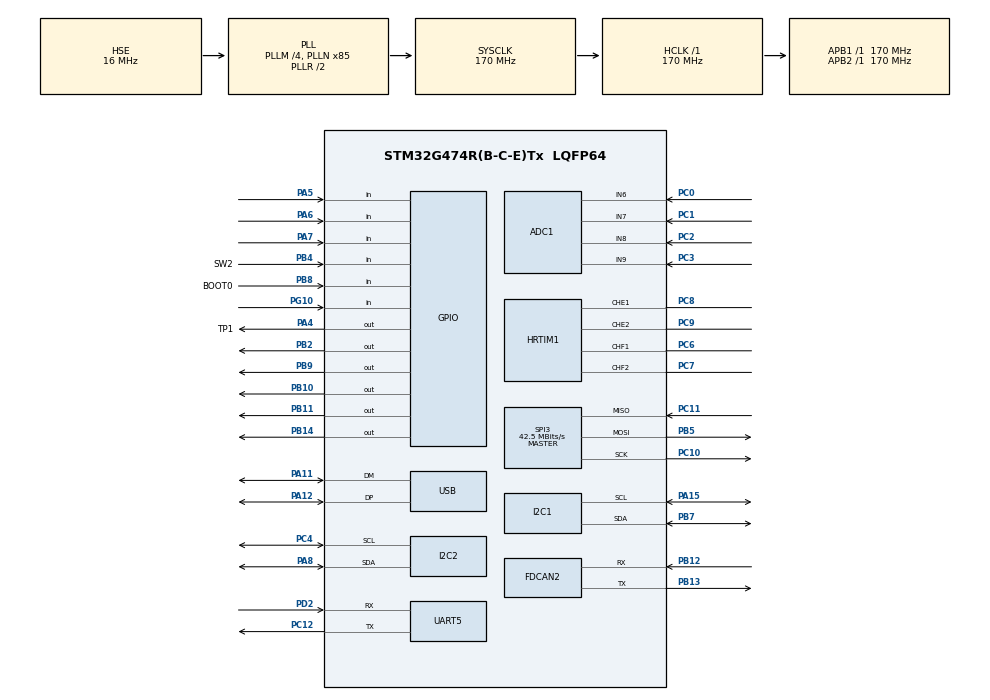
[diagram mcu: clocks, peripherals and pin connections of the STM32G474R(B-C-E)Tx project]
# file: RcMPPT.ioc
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ADC1.ClockPrescaler=ADC_CLOCK_SYNC_PCLK_DIV4
ADC1.DataAlign=ADC_DATAALIGN_RIGHT
ADC1.DiscontinuousConvMode=DISABLE
ADC1.EOCSelection=ADC_EOC_SEQ_CONV
ADC1.EnableAnalogWatchDog1=false
ADC1.EnableInjectedConversion=ENABLE
ADC1.EnableInjectedOversampling=ENABLE
ADC1.EnableRegularConversion=DISABLE
ADC1.ExternalTrigInjecConv=ADC_EXTERNALTRIGINJEC_HRTIM_TRG2
ADC1.InjNumberOfConversion=4
ADC1.InjOversamplingRatio=ADC_OVERSAMPLING_RATIO_16
ADC1.InjOversamplingRightShift=ADC_RIGHTBITSHIFT_NONE
ADC1.InjectedChannel-1\#ChannelInjectedConversion=ADC_CHANNEL_6
ADC1.InjectedChannel-2\#ChannelInjectedConversion=ADC_CHANNEL_8
ADC1.InjectedChannel-3\#ChannelInjectedConversion=ADC_CHANNEL_7
ADC1.InjectedChannel-4\#ChannelInjectedConversion=ADC_CHANNEL_9
ADC1.InjectedConvMode=None
ADC1.InjectedOffsetNumber-1\#ChannelInjectedConversion=ADC_OFFSET_NONE
ADC1.InjectedOffsetNumber-2\#ChannelInjectedConversion=ADC_OFFSET_NONE
ADC1.InjectedOffsetNumber-3\#ChannelInjectedConversion=ADC_OFFSET_NONE
ADC1.InjectedOffsetNumber-4\#ChannelInjectedConversion=ADC_OFFSET_NONE
ADC1.InjectedRank-1\#ChannelInjectedConversion=1
ADC1.InjectedRank-2\#ChannelInjectedConversion=2
ADC1.InjectedRank-3\#ChannelInjectedConversion=3
ADC1.InjectedRank-4\#ChannelInjectedConversion=4
ADC1.InjectedSamplingTime-1\#ChannelInjectedConversion=ADC_SAMPLETIME_12CYCLES_5
ADC1.InjectedSamplingTime-2\#ChannelInjectedConversion=ADC_SAMPLETIME_12CYCLES_5
ADC1.InjectedSamplingTime-3\#ChannelInjectedConversion=ADC_SAMPLETIME_12CYCLES_5
ADC1.InjectedSamplingTime-4\#ChannelInjectedConversion=ADC_SAMPLETIME_12CYCLES_5
ADC1.Overrun=ADC_OVR_DATA_PRESERVED
ADC1.master=1
HRTIM1.ADCTrigger1_Source1=HRTIM_ADCTRIGGEREVENT13_TIMERF_PERIOD
HRTIM1.ADCTrigger2_Source1=HRTIM_ADCTRIGGEREVENT24_TIMERF_CMP3
HRTIM1.ADCTrigger_Id1=__NULL
HRTIM1.ADCTrigger_Id2=HRTIM_ADCTRIGGER_2
HRTIM1.CompareUnit1-Output_TE1TE2=HRTIM_COMPAREUNIT_1
HRTIM1.CompareUnit1-Output_TF1TF2=HRTIM_COMPAREUNIT_1
HRTIM1.CompareUnit2-Output_TF1TF2=__NULL
HRTIM1.CompareUnit3-Output_TF1TF2=HRTIM_COMPAREUNIT_3
HRTIM1.CompareValue1-Output_TE1TE2=10880
HRTIM1.CompareValue1-Output_TF1TF2=10880
HRTIM1.CompareValue2-Output_TF1TF2=PWM_PERIOD/2
HRTIM1.CompareValue3-Output_TF1TF2=5000
HRTIM1.DeadTimeInsertion-Output_TE1TE2=HRTIM_TIMDEADTIMEINSERTION_ENABLED
HRTIM1.DeadTimeInsertion-Output_TF1TF2=HRTIM_TIMDEADTIMEINSERTION_ENABLED
HRTIM1.EnableCalibration=DLLSimpleCalibration
HRTIM1.FallingValue-Output_TE1TE2=68
HRTIM1.FallingValue-Output_TF1TF2=68
HRTIM1.InterruptRequests1-Output_TF1TF2=HRTIM_TIM_IT_REP
HRTIM1.NumberADCTriggerSource1=1
HRTIM1.NumberADCTriggerSource2=1
HRTIM1.NumberInterruptRequests-Output_TF1TF2=1
HRTIM1.NumberResetSource1-Output_TE1TE2=1
HRTIM1.NumberResetSource1-Output_TF1TF2=1
HRTIM1.NumberSetSource1-Output_TE1TE2=1
HRTIM1.NumberSetSource1-Output_TF1TF2=1
HRTIM1.ORingUpdateSource_ADCTrigger2=HRTIM_ADCTRIGGERUPDATE_TIMER_F
HRTIM1.Periode_TE=PWM_PERIOD
HRTIM1.Periode_TF=PWM_PERIOD
HRTIM1.PreloadEnable-Output_TE1TE2=HRTIM_PRELOAD_ENABLED
HRTIM1.PreloadEnable-Output_TF1TF2=HRTIM_PRELOAD_ENABLED
HRTIM1.PrescalerDead-Output_TF1TF2=HRTIM_TIMDEADTIME_PRESCALERRATIO_MUL8
HRTIM1.PrescalerRatio_TE=HRTIM_PRESCALERRATIO_MUL32
HRTIM1.PrescalerRatio_TF=HRTIM_PRESCALERRATIO_MUL32
HRTIM1.RepetitionUpdate-Output_TE1TE2=HRTIM_UPDATEONREPETITION_ENABLED
HRTIM1.RepetitionUpdate-Output_TF1TF2=HRTIM_UPDATEONREPETITION_ENABLED
HRTIM1.ResetOutput1_Source1-Output_TE1TE2=HRTIM_OUTPUTRESET_TIMCMP1
HRTIM1.ResetOutput1_Source1-Output_TF1TF2=HRTIM_OUTPUTRESET_TIMPER
HRTIM1.RisingValue-Output_TE1TE2=68
HRTIM1.RisingValue-Output_TF1TF2=68
HRTIM1.SetOutput1_Source1-Output_TE1TE2=HRTIM_OUTPUTSET_TIMPER
HRTIM1.SetOutput1_Source1-Output_TF1TF2=HRTIM_OUTPUTSET_TIMCMP1
HRTIM1.SwapE=__NULL
HRTIM1.Timeout=100
I2C1.Timing=0x30A0A7FB
I2C2.Timing=0x30A0A7FB
Mcu.Family=STM32G4
Mcu.Name=STM32G474R(B-C-E)Tx
Mcu.Package=LQFP64
Mcu.UserConstants=PWM_PERIOD,21760
NVIC.ADC1_2_IRQn=true\:0\:0\:false\:false\:true\:true\:true
NVIC.HRTIM1_TIMF_IRQn=true\:0\:0\:true\:false\:true\:true\:true
NVIC.PriorityGroup=NVIC_PRIORITYGROUP_4
NVIC.USB_LP_IRQn=true\:0\:0\:true\:false\:true\:false\:true
PA11.Mode=Device
PA11.Signal=USB_DM
PA12.Mode=Device
PA12.Signal=USB_DP
PA13.Mode=Trace_Asynchronous_SW
PA13.Signal=SYS_JTMS-SWDIO
PA14.Mode=Trace_Asynchronous_SW
PA14.Signal=SYS_JTCK-SWCLK
PA15.GPIO_Pu=GPIO_PULLUP
PA15.Mode=I2C
PA15.Signal=I2C1_SCL
PA4.GPIO_Label=TP1
PA4.GPIO_Speed=GPIO_SPEED_FREQ_VERY_HIGH
PA4.Signal=GPIO_Output
PA5.Signal=GPIO_Input
PA6.Signal=GPIO_Input
PA7.Signal=GPIO_Input
PA8.GPIO_Pu=GPIO_PULLUP
PA8.Mode=I2C
PA8.Signal=I2C2_SDA
PB10.Signal=GPIO_Output
PB11.Signal=GPIO_Output
PB12.Mode=FDCAN_Activate
PB12.Signal=FDCAN2_RX
PB13.Mode=FDCAN_Activate
PB13.Signal=FDCAN2_TX
PB14.Signal=GPIO_Output
PB2.Signal=GPIO_Output
PB3.Mode=Trace_Asynchronous_SW
PB3.Signal=SYS_JTDO-SWO
PB4.GPIO_Label=SW2
PB4.Signal=GPIO_Input
PB5.Mode=Full_Duplex_Master
PB5.Signal=SPI3_MOSI
PB7.GPIO_Pu=GPIO_PULLUP
PB7.Mode=I2C
PB7.Signal=I2C1_SDA
PB8-BOOT0.GPIO_Label=BOOT0
PB8-BOOT0.Signal=GPIO_Input
PB9.Signal=GPIO_Output
PC0.Mode=IN6-Single-Ended
PC0.Signal=ADC1_IN6
PC1.Mode=IN7-Single-Ended
PC1.Signal=ADC1_IN7
PC10.Mode=Full_Duplex_Master
PC10.Signal=SPI3_SCK
PC11.Mode=Full_Duplex_Master
PC11.Signal=SPI3_MISO
PC12.Mode=Asynchronous
PC12.Signal=UART5_TX
PC2.Mode=IN8-Single-Ended
PC2.Signal=ADC1_IN8
PC3.Mode=IN9-Single-Ended
PC3.Signal=ADC1_IN9
PC4.GPIO_Pu=GPIO_PULLUP
PC4.Mode=I2C
PC4.Signal=I2C2_SCL
PC6.Mode=Output_TF1TF2
PC6.Signal=HRTIM1_CHF1
PC7.Mode=Output_TF1TF2
PC7.Signal=HRTIM1_CHF2
PC8.Mode=Output_TE1TE2
PC8.Signal=HRTIM1_CHE1
PC9.Mode=Output_TE1TE2
PC9.Signal=HRTIM1_CHE2
PD2.Mode=Asynchronous
PD2.Signal=UART5_RX
PF0-OSC_IN.Mode=HSE-External-Oscillator
PF0-OSC_IN.Signal=RCC_OSC_IN
PF1-OSC_OUT.Mode=HSE-External-Oscillator
PF1-OSC_OUT.Signal=RCC_OSC_OUT
PG10-NRST.Signal=GPIO_Input
ProjectManager.HeapSize=0x200
ProjectManager.StackSize=0x400
ProjectManager.TargetToolchain=STM32CubeIDE
RCC.ADC12Freq_Value=170000000
RCC.ADC345Freq_Value=170000000
RCC.AHBFreq_Value=170000000
RCC.APB1Freq_Value=170000000
RCC.APB1TimFreq_Value=170000000
RCC.APB2Freq_Value=170000000
RCC.APB2TimFreq_Value=170000000
RCC.CK48CLockSelection=RCC_USBCLKSOURCE_HSI48
RCC.CortexFreq_Value=170000000
RCC.EXTERNAL_CLOCK_VALUE=12288000
RCC.EnbaleCSS=true
RCC.HCLKFreq_Value=170000000
RCC.HSE_VALUE=16000000
RCC.HSI48_VALUE=48000000
RCC.HSI_VALUE=16000000
RCC.I2C1CLockSelection=RCC_I2C1CLKSOURCE_SYSCLK
RCC.I2C2CLockSelection=RCC_I2C2CLKSOURCE_SYSCLK
RCC.LSE_VALUE=32768
RCC.PLLM=RCC_PLLM_DIV4
RCC.PLLN=85
RCC.PLLQ=RCC_PLLQ_DIV6
RCC.PLLSourceVirtual=RCC_PLLSOURCE_HSE
RCC.SYSCLKFreq_VALUE=170000000
RCC.SYSCLKSource=RCC_SYSCLKSOURCE_PLLCLK
RCC.UART5CLockSelection=RCC_UART5CLKSOURCE_SYSCLK
RCC.USBFreq_Value=48000000
RCC.VCOOutputFreq_Value=340000000
SPI3.BaudRatePrescaler=SPI_BAUDRATEPRESCALER_4
SPI3.CalculateBaudRate=42.5 MBits/s
SPI3.Direction=SPI_DIRECTION_2LINES
SPI3.Mode=SPI_MODE_MASTER
SPI3.VirtualType=VM_MASTER
USB.Sof_enable=DISABLE
USB.battery_charging_enable=DISABLE
USB.lpm_enable=DISABLE
USB_DEVICE.CLASS_NAME_FS=CDC
USB_DEVICE.MANUFACTURER_STRING=WhoFi
USB_DEVICE.PRODUCT_STRING_CDC_FS=RcMPPT
USB_DEVICE.VirtualMode=Cdc
USB_DEVICE.VirtualModeFS=Cdc_FS
VP_CRC_VS_CRC.Mode=CRC_Activate
VP_SYS_VS_DBSignals.Mode=DisableDeadBatterySignals
VP_USB_DEVICE_VS_USB_DEVICE_CDC_FS.Mode=CDC_FS
board=custom

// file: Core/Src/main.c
/* USER CODE BEGIN Header */
/**
 ******************************************************************************
 * @file           : main.c
 * @brief          : Main program body
 ******************************************************************************
 * @attention
 *
 * <h2><center>&copy; Copyright (c) 2021 STMicroelectronics.
 * All rights reserved.</center></h2>
 *
 * This software component is licensed by ST under Ultimate Liberty license
 * SLA0044, the "License"; You may not use this file except in compliance with
 * the License. You may obtain a copy of the License at:
 *                             www.st.com/SLA0044
 *
 ******************************************************************************
 */
/* USER CODE END Header */
#include "main.h"
#include "usb_device.h"

/* USER CODE BEGIN Includes */
#include "usbd_cdc.h"
#include "usbd_cdc_if.h"
/* USER CODE END Includes */

FDCAN_HandleTypeDef hfdcan2;

I2C_HandleTypeDef hi2c1;
I2C_HandleTypeDef hi2c2;

SPI_HandleTypeDef hspi3;

UART_HandleTypeDef huart5;

/* USER CODE BEGIN PV */
uint32_t Index = 1;
__IO uint32_t ErasingOnGoing = 0;
uint32_t a_VarDataTab[NB_OF_VARIABLES] = {0};
uint32_t VarValue = 0;
/* USER CODE END PV */

void SystemClock_Config(void);
static void MX_GPIO_Init(void);
static void MX_HRTIM1_Init(void);
static void MX_ADC1_Init(void);
static void MX_FDCAN2_Init(void);
static void MX_I2C1_Init(void);
static void MX_I2C2_Init(void);
static void MX_SPI3_Init(void);
static void MX_UART5_Init(void);
static void MX_CRC_Init(void);

int main(void)
{
  /* USER CODE BEGIN 1 */
	//Set initial Target Voltage
	targetVout = 5000;
	//Set initial conversion mode
	conversionState = CONVERSION_STATE_SHUTDOWN;
  /* USER CODE END 1 */

  /* MCU Configuration--------------------------------------------------------*/

  /* Reset of all peripherals, Initializes the Flash interface and the Systick. */
  HAL_Init();

  /* USER CODE BEGIN Init */
	LL_HRTIM_StartDLLCalibration(HRTIM1);
  /* USER CODE END Init */

  /* Configure the system clock */
  SystemClock_Config();

  /* Initialize all configured peripherals */
  MX_GPIO_Init();
  MX_HRTIM1_Init();
  MX_ADC1_Init();
  MX_FDCAN2_Init();
  MX_I2C1_Init();
  MX_I2C2_Init();
  MX_SPI3_Init();
  MX_UART5_Init();
  MX_USB_Device_Init();
  MX_CRC_Init();
  /* USER CODE BEGIN 2 */
	LL_ADC_DisableDeepPowerDown(ADC1);
	HAL_Delay(1);	//Wait before powering up the regulator
	LL_ADC_EnableInternalRegulator(ADC1);
	HAL_Delay(1);	//Wait for regulator stabilization
	LL_ADC_StartCalibration(ADC1, LL_ADC_SINGLE_ENDED);
	while (LL_ADC_IsCalibrationOnGoing(ADC1) != 0);
	HAL_Delay(1);	//Wait after calibration before activation ADC
	LL_ADC_Enable(ADC1);
	while (LL_ADC_IsActiveFlag_ADRDY(ADC1) == 0);
	HAL_Delay(1);	//Wait before starting conversion
	//Start Timer and ADC Peripherals
	LL_ADC_INJ_StartConversion(ADC1);
	LL_HRTIM_TIM_CounterEnable(HRTIM1, LL_HRTIM_TIMER_E | LL_HRTIM_TIMER_F);
	//Init ADC Filters
	Moving_Average_Init(&VinFilter);
	Moving_Average_Init(&VoutFilter);
	Moving_Average_Init(&CurInFilter);
	Moving_Average_Init(&CurOutFilter);
	//Enable Interrupts
	LL_HRTIM_EnableIT_REP(HRTIM1, LL_HRTIM_TIMER_F);
	LL_ADC_EnableIT_JEOS(ADC1);

  /* USER CODE END 2 */

  /* Infinite loop */
  /* USER CODE BEGIN WHILE */
	char txBuf[40];
	uint8_t USBCmd[9];
	uint32_t CMDLen;
	while (1)
	{
		if (USB_retrieveCMD(USBCmd, &CMDLen))
		{
			if (CMDLen == 3)
			{
				switch (USBCmd[0])
				{
				case 'O':
					targetVout = (((USBCmd[1] - '0') * 10) + (USBCmd[2] - '0')) * 1000;
					break;
				}
			}
		}
    /* USER CODE END WHILE */

    /* USER CODE BEGIN 3 */
		sprintf(txBuf, "%u,%u,%u,%u,%u\r\n", VinAverage, VoutAverage, CurInAverage, CurOutAverage, CurrentDuty);
		CDC_Transmit_FS((uint8_t*) txBuf, strlen(txBuf));
		HAL_Delay(1);
	}
  /* USER CODE END 3 */
}

void SystemClock_Config(void)
{
  RCC_OscInitTypeDef RCC_OscInitStruct = {0};
  RCC_ClkInitTypeDef RCC_ClkInitStruct = {0};
  RCC_PeriphCLKInitTypeDef PeriphClkInit = {0};

  /** Configure the main internal regulator output voltage
  */
  HAL_PWREx_ControlVoltageScaling(PWR_REGULATOR_VOLTAGE_SCALE1_BOOST);
  /** Initializes the RCC Oscillators according to the specified parameters
  * in the RCC_OscInitTypeDef structure.
  */
  RCC_OscInitStruct.OscillatorType = RCC_OSCILLATORTYPE_HSI48|RCC_OSCILLATORTYPE_HSE;
  RCC_OscInitStruct.HSEState = RCC_HSE_ON;
  RCC_OscInitStruct.HSI48State = RCC_HSI48_ON;
  RCC_OscInitStruct.PLL.PLLState = RCC_PLL_ON;
  RCC_OscInitStruct.PLL.PLLSource = RCC_PLLSOURCE_HSE;
  RCC_OscInitStruct.PLL.PLLM = RCC_PLLM_DIV4;
  RCC_OscInitStruct.PLL.PLLN = 85;
  RCC_OscInitStruct.PLL.PLLP = RCC_PLLP_DIV2;
  RCC_OscInitStruct.PLL.PLLQ = RCC_PLLQ_DIV6;
  RCC_OscInitStruct.PLL.PLLR = RCC_PLLR_DIV2;
  if (HAL_RCC_OscConfig(&RCC_OscInitStruct) != HAL_OK)
  {
    Error_Handler();
  }
  /** Initializes the CPU, AHB and APB buses clocks
  */
  RCC_ClkInitStruct.ClockType = RCC_CLOCKTYPE_HCLK|RCC_CLOCKTYPE_SYSCLK
                              |RCC_CLOCKTYPE_PCLK1|RCC_CLOCKTYPE_PCLK2;
  RCC_ClkInitStruct.SYSCLKSource = RCC_SYSCLKSOURCE_PLLCLK;
  RCC_ClkInitStruct.AHBCLKDivider = RCC_SYSCLK_DIV1;
  RCC_ClkInitStruct.APB1CLKDivider = RCC_HCLK_DIV1;
  RCC_ClkInitStruct.APB2CLKDivider = RCC_HCLK_DIV1;

  if (HAL_RCC_ClockConfig(&RCC_ClkInitStruct, FLASH_LATENCY_4) != HAL_OK)
  {
    Error_Handler();
  }
  /** Initializes the peripherals clocks
  */
  PeriphClkInit.PeriphClockSelection = RCC_PERIPHCLK_UART5|RCC_PERIPHCLK_I2C1
                              |RCC_PERIPHCLK_I2C2|RCC_PERIPHCLK_USB
                              |RCC_PERIPHCLK_ADC12|RCC_PERIPHCLK_FDCAN;
  PeriphClkInit.Uart5ClockSelection = RCC_UART5CLKSOURCE_SYSCLK;
  PeriphClkInit.I2c1ClockSelection = RCC_I2C1CLKSOURCE_SYSCLK;
  PeriphClkInit.I2c2ClockSelection = RCC_I2C2CLKSOURCE_SYSCLK;
  PeriphClkInit.FdcanClockSelection = RCC_FDCANCLKSOURCE_PCLK1;
  PeriphClkInit.UsbClockSelection = RCC_USBCLKSOURCE_HSI48;
  PeriphClkInit.Adc12ClockSelection = RCC_ADC12CLKSOURCE_SYSCLK;
  if (HAL_RCCEx_PeriphCLKConfig(&PeriphClkInit) != HAL_OK)
  {
    Error_Handler();
  }
  /** Enables the Clock Security System
  */
  HAL_RCC_EnableCSS();
}

static void MX_ADC1_Init(void)
{

  LL_ADC_InitTypeDef ADC_InitStruct = {0};
  LL_ADC_REG_InitTypeDef ADC_REG_InitStruct = {0};
  LL_ADC_CommonInitTypeDef ADC_CommonInitStruct = {0};
  LL_ADC_INJ_InitTypeDef ADC_INJ_InitStruct = {0};

  LL_GPIO_InitTypeDef GPIO_InitStruct = {0};

  /* Peripheral clock enable */
  LL_AHB2_GRP1_EnableClock(LL_AHB2_GRP1_PERIPH_ADC12);

  LL_AHB2_GRP1_EnableClock(LL_AHB2_GRP1_PERIPH_GPIOC);
  /**ADC1 GPIO Configuration
  PC0   ------> ADC1_IN6
  PC1   ------> ADC1_IN7
  PC2   ------> ADC1_IN8
  PC3   ------> ADC1_IN9
  */
  GPIO_InitStruct.Pin = LL_GPIO_PIN_0;
  GPIO_InitStruct.Mode = LL_GPIO_MODE_ANALOG;
  GPIO_InitStruct.Pull = LL_GPIO_PULL_NO;
  LL_GPIO_Init(GPIOC, &GPIO_InitStruct);

  GPIO_InitStruct.Pin = LL_GPIO_PIN_1;
  GPIO_InitStruct.Mode = LL_GPIO_MODE_ANALOG;
  GPIO_InitStruct.Pull = LL_GPIO_PULL_NO;
  LL_GPIO_Init(GPIOC, &GPIO_InitStruct);

  GPIO_InitStruct.Pin = LL_GPIO_PIN_2;
  GPIO_InitStruct.Mode = LL_GPIO_MODE_ANALOG;
  GPIO_InitStruct.Pull = LL_GPIO_PULL_NO;
  LL_GPIO_Init(GPIOC, &GPIO_InitStruct);

  GPIO_InitStruct.Pin = LL_GPIO_PIN_3;
  GPIO_InitStruct.Mode = LL_GPIO_MODE_ANALOG;
  GPIO_InitStruct.Pull = LL_GPIO_PULL_NO;
  LL_GPIO_Init(GPIOC, &GPIO_InitStruct);

  /* ADC1 interrupt Init */
  NVIC_SetPriority(ADC1_2_IRQn, NVIC_EncodePriority(NVIC_GetPriorityGrouping(),0, 0));
  NVIC_EnableIRQ(ADC1_2_IRQn);

  /** Common config
  */
  ADC_InitStruct.Resolution = LL_ADC_RESOLUTION_12B;
  ADC_InitStruct.DataAlignment = LL_ADC_DATA_ALIGN_RIGHT;
  ADC_InitStruct.LowPowerMode = LL_ADC_LP_MODE_NONE;
  LL_ADC_Init(ADC1, &ADC_InitStruct);
  ADC_REG_InitStruct.SequencerLength = LL_ADC_REG_SEQ_SCAN_DISABLE;
  ADC_REG_InitStruct.SequencerDiscont = LL_ADC_REG_SEQ_DISCONT_DISABLE;
  ADC_REG_InitStruct.ContinuousMode = LL_ADC_REG_CONV_SINGLE;
  ADC_REG_InitStruct.DMATransfer = LL_ADC_REG_DMA_TRANSFER_NONE;
  ADC_REG_InitStruct.Overrun = LL_ADC_REG_OVR_DATA_PRESERVED;
  LL_ADC_REG_Init(ADC1, &ADC_REG_InitStruct);
  LL_ADC_SetGainCompensation(ADC1, 0);
  LL_ADC_SetOverSamplingScope(ADC1, LL_ADC_OVS_GRP_INJECTED);
  ADC_CommonInitStruct.CommonClock = LL_ADC_CLOCK_SYNC_PCLK_DIV4;
  ADC_CommonInitStruct.Multimode = LL_ADC_MULTI_INDEPENDENT;
  LL_ADC_CommonInit(__LL_ADC_COMMON_INSTANCE(ADC1), &ADC_CommonInitStruct);
  ADC_INJ_InitStruct.TriggerSource = LL_ADC_INJ_TRIG_EXT_HRTIM_TRG2;
  ADC_INJ_InitStruct.SequencerLength = LL_ADC_INJ_SEQ_SCAN_ENABLE_4RANKS;
  ADC_INJ_InitStruct.SequencerDiscont = LL_ADC_INJ_SEQ_DISCONT_DISABLE;
  ADC_INJ_InitStruct.TrigAuto = LL_ADC_INJ_TRIG_INDEPENDENT;
  LL_ADC_INJ_Init(ADC1, &ADC_INJ_InitStruct);
  LL_ADC_INJ_SetQueueMode(ADC1, LL_ADC_INJ_QUEUE_DISABLE);
  LL_ADC_ConfigOverSamplingRatioShift(ADC1, LL_ADC_OVS_RATIO_16, LL_ADC_OVS_SHIFT_NONE);
  LL_ADC_INJ_SetTriggerEdge(ADC1, LL_ADC_INJ_TRIG_EXT_RISING);

  /* Disable ADC deep power down (enabled by default after reset state) */
  LL_ADC_DisableDeepPowerDown(ADC1);
  /* Enable ADC internal voltage regulator */
  LL_ADC_EnableInternalRegulator(ADC1);
  /* Delay for ADC internal voltage regulator stabilization. */
  /* Compute number of CPU cycles to wait for, from delay in us. */
  /* Note: Variable divided by 2 to compensate partially */
  /* CPU processing cycles (depends on compilation optimization). */
  /* Note: If system core clock frequency is below 200kHz, wait time */
  /* is only a few CPU processing cycles. */
  uint32_t wait_loop_index;
  wait_loop_index = ((LL_ADC_DELAY_INTERNAL_REGUL_STAB_US * (SystemCoreClock / (100000 * 2))) / 10);
  while(wait_loop_index != 0)
  {
    wait_loop_index--;
  }
  /** Configure Injected Channel
  */
  LL_ADC_INJ_SetSequencerRanks(ADC1, LL_ADC_INJ_RANK_1, LL_ADC_CHANNEL_6);
  LL_ADC_SetChannelSamplingTime(ADC1, LL_ADC_CHANNEL_6, LL_ADC_SAMPLINGTIME_12CYCLES_5);
  LL_ADC_SetChannelSingleDiff(ADC1, LL_ADC_CHANNEL_6, LL_ADC_SINGLE_ENDED);
  /** Configure Injected Channel
  */
  LL_ADC_INJ_SetSequencerRanks(ADC1, LL_ADC_INJ_RANK_2, LL_ADC_CHANNEL_8);
  LL_ADC_SetChannelSamplingTime(ADC1, LL_ADC_CHANNEL_8, LL_ADC_SAMPLINGTIME_12CYCLES_5);
  LL_ADC_SetChannelSingleDiff(ADC1, LL_ADC_CHANNEL_8, LL_ADC_SINGLE_ENDED);
  /** Configure Injected Channel
  */
  LL_ADC_INJ_SetSequencerRanks(ADC1, LL_ADC_INJ_RANK_3, LL_ADC_CHANNEL_7);
  LL_ADC_SetChannelSamplingTime(ADC1, LL_ADC_CHANNEL_7, LL_ADC_SAMPLINGTIME_12CYCLES_5);
  LL_ADC_SetChannelSingleDiff(ADC1, LL_ADC_CHANNEL_7, LL_ADC_SINGLE_ENDED);
  /** Configure Injected Channel
  */
  LL_ADC_INJ_SetSequencerRanks(ADC1, LL_ADC_INJ_RANK_4, LL_ADC_CHANNEL_9);
  LL_ADC_SetChannelSamplingTime(ADC1, LL_ADC_CHANNEL_9, LL_ADC_SAMPLINGTIME_12CYCLES_5);
  LL_ADC_SetChannelSingleDiff(ADC1, LL_ADC_CHANNEL_9, LL_ADC_SINGLE_ENDED);

}

static void MX_CRC_Init(void)
{

  /* Peripheral clock enable */
  LL_AHB1_GRP1_EnableClock(LL_AHB1_GRP1_PERIPH_CRC);

  LL_CRC_SetInputDataReverseMode(CRC, LL_CRC_INDATA_REVERSE_NONE);
  LL_CRC_SetOutputDataReverseMode(CRC, LL_CRC_OUTDATA_REVERSE_NONE);
  LL_CRC_SetPolynomialCoef(CRC, LL_CRC_DEFAULT_CRC32_POLY);
  LL_CRC_SetPolynomialSize(CRC, LL_CRC_POLYLENGTH_32B);
  LL_CRC_SetInitialData(CRC, LL_CRC_DEFAULT_CRC_INITVALUE);

}

static void MX_FDCAN2_Init(void)
{

  hfdcan2.Instance = FDCAN2;
  hfdcan2.Init.FrameFormat = FDCAN_FRAME_CLASSIC;
  hfdcan2.Init.Mode = FDCAN_MODE_NORMAL;
  hfdcan2.Init.AutoRetransmission = DISABLE;
  hfdcan2.Init.TransmitPause = DISABLE;
  hfdcan2.Init.ProtocolException = DISABLE;
  hfdcan2.Init.NominalPrescaler = 1;
  hfdcan2.Init.NominalSyncJumpWidth = 1;
  hfdcan2.Init.NominalTimeSeg1 = 2;
  hfdcan2.Init.NominalTimeSeg2 = 2;
  hfdcan2.Init.DataPrescaler = 1;
  hfdcan2.Init.DataSyncJumpWidth = 1;
  hfdcan2.Init.DataTimeSeg1 = 1;
  hfdcan2.Init.DataTimeSeg2 = 1;
  hfdcan2.Init.StdFiltersNbr = 0;
  hfdcan2.Init.ExtFiltersNbr = 0;
  hfdcan2.Init.TxFifoQueueMode = FDCAN_TX_FIFO_OPERATION;
  if (HAL_FDCAN_Init(&hfdcan2) != HAL_OK)
  {
    Error_Handler();
  }

}

static void MX_HRTIM1_Init(void)
{

  LL_GPIO_InitTypeDef GPIO_InitStruct = {0};

  /* Peripheral clock enable */
  LL_APB2_GRP1_EnableClock(LL_APB2_GRP1_PERIPH_HRTIM1);

  /* HRTIM1 interrupt Init */
  NVIC_SetPriority(HRTIM1_TIMF_IRQn, NVIC_EncodePriority(NVIC_GetPriorityGrouping(),0, 0));
  NVIC_EnableIRQ(HRTIM1_TIMF_IRQn);

  LL_HRTIM_ConfigDLLCalibration(HRTIM1, LL_HRTIM_DLLCALIBRATION_MODE_CONTINUOUS, LL_HRTIM_DLLCALIBRATION_RATE_3);

  /* Poll for DLL end of calibration */
#if (USE_TIMEOUT == 1)
  uint32_t Timeout = 100; /* Timeout Initialization */
#endif  /*USE_TIMEOUT*/

  while(LL_HRTIM_IsActiveFlag_DLLRDY(HRTIM1) == RESET){
#if (USE_TIMEOUT == 1)
    if (LL_SYSTICK_IsActiveCounterFlag())  /* Check Systick counter flag to decrement the time-out value */
    {
        if(Timeout-- == 0)
        {
          Error_Handler();  /* error management */
        }
    }
#endif  /* USE_TIMEOUT */
  }

  LL_HRTIM_ConfigADCTrig(HRTIM1, LL_HRTIM_ADCTRIG_2, LL_HRTIM_ADCTRIG_UPDATE_TIMER_F, LL_HRTIM_ADCTRIG_SRC24_TIMFCMP3);
  LL_HRTIM_SetADCPostScaler(HRTIM1, LL_HRTIM_ADCTRIG_2, 0x0);
  LL_HRTIM_TIM_SetPrescaler(HRTIM1, LL_HRTIM_TIMER_E, LL_HRTIM_PRESCALERRATIO_MUL32);
  LL_HRTIM_TIM_SetCounterMode(HRTIM1, LL_HRTIM_TIMER_E, LL_HRTIM_MODE_CONTINUOUS);
  LL_HRTIM_TIM_SetPeriod(HRTIM1, LL_HRTIM_TIMER_E, PWM_PERIOD);
  LL_HRTIM_TIM_SetRepetition(HRTIM1, LL_HRTIM_TIMER_E, 0x00);
  LL_HRTIM_TIM_SetUpdateGating(HRTIM1, LL_HRTIM_TIMER_E, LL_HRTIM_UPDATEGATING_INDEPENDENT);
  LL_HRTIM_TIM_SetCountingMode(HRTIM1, LL_HRTIM_TIMER_E, LL_HRTIM_COUNTING_MODE_UP);
  LL_HRTIM_TIM_SetComp1Mode(HRTIM1, LL_HRTIM_TIMER_E, LL_HRTIM_GTCMP1_EQUAL);
  LL_HRTIM_TIM_SetDACTrig(HRTIM1, LL_HRTIM_TIMER_E, LL_HRTIM_DACTRIG_NONE);
  LL_HRTIM_TIM_DisableHalfMode(HRTIM1, LL_HRTIM_TIMER_E);
  LL_HRTIM_TIM_SetInterleavedMode(HRTIM1, LL_HRTIM_TIMER_E, LL_HRTIM_INTERLEAVED_MODE_DISABLED);
  LL_HRTIM_TIM_DisableStartOnSync(HRTIM1, LL_HRTIM_TIMER_E);
  LL_HRTIM_TIM_DisableResetOnSync(HRTIM1, LL_HRTIM_TIMER_E);
  LL_HRTIM_TIM_EnablePreload(HRTIM1, LL_HRTIM_TIMER_E);
  LL_HRTIM_TIM_DisableResyncUpdate(HRTIM1, LL_HRTIM_TIMER_E);
  LL_HRTIM_TIM_SetUpdateTrig(HRTIM1, LL_HRTIM_TIMER_E, LL_HRTIM_UPDATETRIG_NONE|LL_HRTIM_UPDATETRIG_REPETITION);
  LL_HRTIM_TIM_SetResetTrig(HRTIM1, LL_HRTIM_TIMER_E, LL_HRTIM_RESETTRIG_NONE);
  LL_HRTIM_TIM_DisablePushPullMode(HRTIM1, LL_HRTIM_TIMER_E);
  LL_HRTIM_TIM_EnableDeadTime(HRTIM1, LL_HRTIM_TIMER_E);
  LL_HRTIM_TIM_SetBurstModeOption(HRTIM1, LL_HRTIM_TIMER_E, LL_HRTIM_BURSTMODE_MAINTAINCLOCK);
  LL_HRTIM_ForceUpdate(HRTIM1, LL_HRTIM_TIMER_E);
  LL_HRTIM_TIM_SetCompare1(HRTIM1, LL_HRTIM_TIMER_E, 10880);
  LL_HRTIM_DT_SetPrescaler(HRTIM1, LL_HRTIM_TIMER_E, LL_HRTIM_DT_PRESCALER_MUL8);
  LL_HRTIM_DT_SetRisingValue(HRTIM1, LL_HRTIM_TIMER_E, 68);
  LL_HRTIM_DT_SetRisingSign(HRTIM1, LL_HRTIM_TIMER_E, LL_HRTIM_DT_RISING_POSITIVE);
  LL_HRTIM_DT_SetFallingValue(HRTIM1, LL_HRTIM_TIMER_E, 68);
  LL_HRTIM_DT_SetFallingSign(HRTIM1, LL_HRTIM_TIMER_E, LL_HRTIM_DT_FALLING_POSITIVE);
  LL_HRTIM_OUT_SetPolarity(HRTIM1, LL_HRTIM_OUTPUT_TE1, LL_HRTIM_OUT_POSITIVE_POLARITY);
  LL_HRTIM_OUT_SetOutputSetSrc(HRTIM1, LL_HRTIM_OUTPUT_TE1, LL_HRTIM_OUTPUTSET_TIMPER);
  LL_HRTIM_OUT_SetOutputResetSrc(HRTIM1, LL_HRTIM_OUTPUT_TE1, LL_HRTIM_OUTPUTRESET_TIMCMP1);
  LL_HRTIM_OUT_SetIdleMode(HRTIM1, LL_HRTIM_OUTPUT_TE1, LL_HRTIM_OUT_NO_IDLE);
  LL_HRTIM_OUT_SetIdleLevel(HRTIM1, LL_HRTIM_OUTPUT_TE1, LL_HRTIM_OUT_IDLELEVEL_INACTIVE);
  LL_HRTIM_OUT_SetFaultState(HRTIM1, LL_HRTIM_OUTPUT_TE1, LL_HRTIM_OUT_FAULTSTATE_NO_ACTION);
  LL_HRTIM_OUT_SetChopperMode(HRTIM1, LL_HRTIM_OUTPUT_TE1, LL_HRTIM_OUT_CHOPPERMODE_DISABLED);
  LL_HRTIM_OUT_SetPolarity(HRTIM1, LL_HRTIM_OUTPUT_TE2, LL_HRTIM_OUT_POSITIVE_POLARITY);
  LL_HRTIM_OUT_SetOutputSetSrc(HRTIM1, LL_HRTIM_OUTPUT_TE2, LL_HRTIM_OUTPUTSET_NONE);
  LL_HRTIM_OUT_SetOutputResetSrc(HRTIM1, LL_HRTIM_OUTPUT_TE2, LL_HRTIM_OUTPUTRESET_NONE);
  LL_HRTIM_OUT_SetIdleMode(HRTIM1, LL_HRTIM_OUTPUT_TE2, LL_HRTIM_OUT_NO_IDLE);
  LL_HRTIM_OUT_SetIdleLevel(HRTIM1, LL_HRTIM_OUTPUT_TE2, LL_HRTIM_OUT_IDLELEVEL_INACTIVE);
  LL_HRTIM_OUT_SetFaultState(HRTIM1, LL_HRTIM_OUTPUT_TE2, LL_HRTIM_OUT_FAULTSTATE_NO_ACTION);
  LL_HRTIM_OUT_SetChopperMode(HRTIM1, LL_HRTIM_OUTPUT_TE2, LL_HRTIM_OUT_CHOPPERMODE_DISABLED);

  /* Poll for DLL end of calibration */
#if (USE_TIMEOUT == 1)
  uint32_t Timeout = 100; /* Timeout Initialization */
#endif  /*USE_TIMEOUT*/

  while(LL_HRTIM_IsActiveFlag_DLLRDY(HRTIM1) == RESET){
#if (USE_TIMEOUT == 1)
    if (LL_SYSTICK_IsActiveCounterFlag())  /* Check Systick counter flag to decrement the time-out value */
    {
        if(Timeout-- == 0)
        {
          Error_Handler();  /* error management */
        }
    }
#endif  /* USE_TIMEOUT */
  }

  LL_HRTIM_TIM_SetPrescaler(HRTIM1, LL_HRTIM_TIMER_F, LL_HRTIM_PRESCALERRATIO_MUL32);
  LL_HRTIM_TIM_SetCounterMode(HRTIM1, LL_HRTIM_TIMER_F, LL_HRTIM_MODE_CONTINUOUS);
  LL_HRTIM_TIM_SetPeriod(HRTIM1, LL_HRTIM_TIMER_F, PWM_PERIOD);
  LL_HRTIM_TIM_SetRepetition(HRTIM1, LL_HRTIM_TIMER_F, 0x00);
  LL_HRTIM_TIM_SetUpdateGating(HRTIM1, LL_HRTIM_TIMER_F, LL_HRTIM_UPDATEGATING_INDEPENDENT);
  LL_HRTIM_TIM_SetCountingMode(HRTIM1, LL_HRTIM_TIMER_F, LL_HRTIM_COUNTING_MODE_UP);
  LL_HRTIM_TIM_SetComp1Mode(HRTIM1, LL_HRTIM_TIMER_F, LL_HRTIM_GTCMP1_EQUAL);
  LL_HRTIM_TIM_SetComp3Mode(HRTIM1, LL_HRTIM_TIMER_F, LL_HRTIM_GTCMP3_EQUAL);
  LL_HRTIM_TIM_SetDACTrig(HRTIM1, LL_HRTIM_TIMER_F, LL_HRTIM_DACTRIG_NONE);
  LL_HRTIM_TIM_DisableHalfMode(HRTIM1, LL_HRTIM_TIMER_F);
  LL_HRTIM_TIM_SetInterleavedMode(HRTIM1, LL_HRTIM_TIMER_F, LL_HRTIM_INTERLEAVED_MODE_DISABLED);
  LL_HRTIM_TIM_DisableStartOnSync(HRTIM1, LL_HRTIM_TIMER_F);
  LL_HRTIM_TIM_DisableResetOnSync(HRTIM1, LL_HRTIM_TIMER_F);
  LL_HRTIM_TIM_EnablePreload(HRTIM1, LL_HRTIM_TIMER_F);
  LL_HRTIM_TIM_DisableResyncUpdate(HRTIM1, LL_HRTIM_TIMER_F);
  LL_HRTIM_TIM_SetUpdateTrig(HRTIM1, LL_HRTIM_TIMER_F, LL_HRTIM_UPDATETRIG_NONE|LL_HRTIM_UPDATETRIG_REPETITION);
  LL_HRTIM_TIM_SetResetTrig(HRTIM1, LL_HRTIM_TIMER_F, LL_HRTIM_RESETTRIG_NONE);
  LL_HRTIM_TIM_DisablePushPullMode(HRTIM1, LL_HRTIM_TIMER_F);
  LL_HRTIM_TIM_EnableDeadTime(HRTIM1, LL_HRTIM_TIMER_F);
  LL_HRTIM_TIM_EnableDLYPRT(HRTIM1, LL_HRTIM_TIMER_F);
  LL_HRTIM_TIM_SetBurstModeOption(HRTIM1, LL_HRTIM_TIMER_F, LL_HRTIM_BURSTMODE_MAINTAINCLOCK);
  LL_HRTIM_ForceUpdate(HRTIM1, LL_HRTIM_TIMER_F);
  LL_HRTIM_TIM_SetCompare1(HRTIM1, LL_HRTIM_TIMER_F, 10880);
  LL_HRTIM_TIM_SetCompare3(HRTIM1, LL_HRTIM_TIMER_F, 5000);
  LL_HRTIM_DT_SetPrescaler(HRTIM1, LL_HRTIM_TIMER_F, LL_HRTIM_DT_PRESCALER_MUL8);
  LL_HRTIM_DT_SetRisingValue(HRTIM1, LL_HRTIM_TIMER_F, 68);
  LL_HRTIM_DT_SetRisingSign(HRTIM1, LL_HRTIM_TIMER_F, LL_HRTIM_DT_RISING_POSITIVE);
  LL_HRTIM_DT_SetFallingValue(HRTIM1, LL_HRTIM_TIMER_F, 68);
  LL_HRTIM_DT_SetFallingSign(HRTIM1, LL_HRTIM_TIMER_F, LL_HRTIM_DT_FALLING_POSITIVE);
  LL_HRTIM_OUT_SetPolarity(HRTIM1, LL_HRTIM_OUTPUT_TF1, LL_HRTIM_OUT_POSITIVE_POLARITY);
  LL_HRTIM_OUT_SetOutputSetSrc(HRTIM1, LL_HRTIM_OUTPUT_TF1, LL_HRTIM_OUTPUTSET_TIMCMP1);
  LL_HRTIM_OUT_SetOutputResetSrc(HRTIM1, LL_HRTIM_OUTPUT_TF1, LL_HRTIM_OUTPUTRESET_TIMPER);
  LL_HRTIM_OUT_SetIdleMode(HRTIM1, LL_HRTIM_OUTPUT_TF1, LL_HRTIM_OUT_NO_IDLE);
  LL_HRTIM_OUT_SetIdleLevel(HRTIM1, LL_HRTIM_OUTPUT_TF1, LL_HRTIM_OUT_IDLELEVEL_INACTIVE);
  LL_HRTIM_OUT_SetFaultState(HRTIM1, LL_HRTIM_OUTPUT_TF1, LL_HRTIM_OUT_FAULTSTATE_NO_ACTION);
  LL_HRTIM_OUT_SetChopperMode(HRTIM1, LL_HRTIM_OUTPUT_TF1, LL_HRTIM_OUT_CHOPPERMODE_DISABLED);
  LL_HRTIM_OUT_SetPolarity(HRTIM1, LL_HRTIM_OUTPUT_TF2, LL_HRTIM_OUT_POSITIVE_POLARITY);
  LL_HRTIM_OUT_SetOutputSetSrc(HRTIM1, LL_HRTIM_OUTPUT_TF2, LL_HRTIM_OUTPUTSET_NONE);
  LL_HRTIM_OUT_SetOutputResetSrc(HRTIM1, LL_HRTIM_OUTPUT_TF2, LL_HRTIM_OUTPUTRESET_NONE);
  LL_HRTIM_OUT_SetIdleMode(HRTIM1, LL_HRTIM_OUTPUT_TF2, LL_HRTIM_OUT_NO_IDLE);
  LL_HRTIM_OUT_SetIdleLevel(HRTIM1, LL_HRTIM_OUTPUT_TF2, LL_HRTIM_OUT_IDLELEVEL_INACTIVE);
  LL_HRTIM_OUT_SetFaultState(HRTIM1, LL_HRTIM_OUTPUT_TF2, LL_HRTIM_OUT_FAULTSTATE_NO_ACTION);
  LL_HRTIM_OUT_SetChopperMode(HRTIM1, LL_HRTIM_OUTPUT_TF2, LL_HRTIM_OUT_CHOPPERMODE_DISABLED);
  LL_AHB2_GRP1_EnableClock(LL_AHB2_GRP1_PERIPH_GPIOC);
  /**HRTIM1 GPIO Configuration
  PC6   ------> HRTIM1_CHF1
  PC7   ------> HRTIM1_CHF2
  PC8   ------> HRTIM1_CHE1
  PC9   ------> HRTIM1_CHE2
  */
  GPIO_InitStruct.Pin = LL_GPIO_PIN_6;
  GPIO_InitStruct.Mode = LL_GPIO_MODE_ALTERNATE;
  GPIO_InitStruct.Speed = LL_GPIO_SPEED_FREQ_VERY_HIGH;
  GPIO_InitStruct.OutputType = LL_GPIO_OUTPUT_PUSHPULL;
  GPIO_InitStruct.Pull = LL_GPIO_PULL_NO;
  GPIO_InitStruct.Alternate = LL_GPIO_AF_13;
  LL_GPIO_Init(GPIOC, &GPIO_InitStruct);

  GPIO_InitStruct.Pin = LL_GPIO_PIN_7;
  GPIO_InitStruct.Mode = LL_GPIO_MODE_ALTERNATE;
  GPIO_InitStruct.Speed = LL_GPIO_SPEED_FREQ_VERY_HIGH;
  GPIO_InitStruct.OutputType = LL_GPIO_OUTPUT_PUSHPULL;
  GPIO_InitStruct.Pull = LL_GPIO_PULL_NO;
  GPIO_InitStruct.Alternate = LL_GPIO_AF_13;
  LL_GPIO_Init(GPIOC, &GPIO_InitStruct);

  GPIO_InitStruct.Pin = LL_GPIO_PIN_8;
  GPIO_InitStruct.Mode = LL_GPIO_MODE_ALTERNATE;
  GPIO_InitStruct.Speed = LL_GPIO_SPEED_FREQ_VERY_HIGH;
  GPIO_InitStruct.OutputType = LL_GPIO_OUTPUT_PUSHPULL;
  GPIO_InitStruct.Pull = LL_GPIO_PULL_NO;
  GPIO_InitStruct.Alternate = LL_GPIO_AF_3;
  LL_GPIO_Init(GPIOC, &GPIO_InitStruct);

  GPIO_InitStruct.Pin = LL_GPIO_PIN_9;
  GPIO_InitStruct.Mode = LL_GPIO_MODE_ALTERNATE;
  GPIO_InitStruct.Speed = LL_GPIO_SPEED_FREQ_VERY_HIGH;
  GPIO_InitStruct.OutputType = LL_GPIO_OUTPUT_PUSHPULL;
  GPIO_InitStruct.Pull = LL_GPIO_PULL_NO;
  GPIO_InitStruct.Alternate = LL_GPIO_AF_3;
  LL_GPIO_Init(GPIOC, &GPIO_InitStruct);

}

static void MX_I2C1_Init(void)
{

  hi2c1.Instance = I2C1;
  hi2c1.Init.Timing = 0x30A0A7FB;
  hi2c1.Init.OwnAddress1 = 0;
  hi2c1.Init.AddressingMode = I2C_ADDRESSINGMODE_7BIT;
  hi2c1.Init.DualAddressMode = I2C_DUALADDRESS_DISABLE;
  hi2c1.Init.OwnAddress2 = 0;
  hi2c1.Init.OwnAddress2Masks = I2C_OA2_NOMASK;
  hi2c1.Init.GeneralCallMode = I2C_GENERALCALL_DISABLE;
  hi2c1.Init.NoStretchMode = I2C_NOSTRETCH_DISABLE;
  if (HAL_I2C_Init(&hi2c1) != HAL_OK)
  {
    Error_Handler();
  }
  /** Configure Analogue filter
  */
  if (HAL_I2CEx_ConfigAnalogFilter(&hi2c1, I2C_ANALOGFILTER_ENABLE) != HAL_OK)
  {
    Error_Handler();
  }
  /** Configure Digital filter
  */
  if (HAL_I2CEx_ConfigDigitalFilter(&hi2c1, 0) != HAL_OK)
  {
    Error_Handler();
  }

}

static void MX_I2C2_Init(void)
{

  hi2c2.Instance = I2C2;
  hi2c2.Init.Timing = 0x30A0A7FB;
  hi2c2.Init.OwnAddress1 = 0;
  hi2c2.Init.AddressingMode = I2C_ADDRESSINGMODE_7BIT;
  hi2c2.Init.DualAddressMode = I2C_DUALADDRESS_DISABLE;
  hi2c2.Init.OwnAddress2 = 0;
  hi2c2.Init.OwnAddress2Masks = I2C_OA2_NOMASK;
  hi2c2.Init.GeneralCallMode = I2C_GENERALCALL_DISABLE;
  hi2c2.Init.NoStretchMode = I2C_NOSTRETCH_DISABLE;
  if (HAL_I2C_Init(&hi2c2) != HAL_OK)
  {
    Error_Handler();
  }
  /** Configure Analogue filter
  */
  if (HAL_I2CEx_ConfigAnalogFilter(&hi2c2, I2C_ANALOGFILTER_ENABLE) != HAL_OK)
  {
    Error_Handler();
  }
  /** Configure Digital filter
  */
  if (HAL_I2CEx_ConfigDigitalFilter(&hi2c2, 0) != HAL_OK)
  {
    Error_Handler();
  }

}

static void MX_SPI3_Init(void)
{

  /* SPI3 parameter configuration*/
  hspi3.Instance = SPI3;
  hspi3.Init.Mode = SPI_MODE_MASTER;
  hspi3.Init.Direction = SPI_DIRECTION_2LINES;
  hspi3.Init.DataSize = SPI_DATASIZE_4BIT;
  hspi3.Init.CLKPolarity = SPI_POLARITY_LOW;
  hspi3.Init.CLKPhase = SPI_PHASE_1EDGE;
  hspi3.Init.NSS = SPI_NSS_SOFT;
  hspi3.Init.BaudRatePrescaler = SPI_BAUDRATEPRESCALER_4;
  hspi3.Init.FirstBit = SPI_FIRSTBIT_MSB;
  hspi3.Init.TIMode = SPI_TIMODE_DISABLE;
  hspi3.Init.CRCCalculation = SPI_CRCCALCULATION_DISABLE;
  hspi3.Init.CRCPolynomial = 7;
  hspi3.Init.CRCLength = SPI_CRC_LENGTH_DATASIZE;
  hspi3.Init.NSSPMode = SPI_NSS_PULSE_ENABLE;
  if (HAL_SPI_Init(&hspi3) != HAL_OK)
  {
    Error_Handler();
  }

}

static void MX_UART5_Init(void)
{

  huart5.Instance = UART5;
  huart5.Init.BaudRate = 115200;
  huart5.Init.WordLength = UART_WORDLENGTH_8B;
  huart5.Init.StopBits = UART_STOPBITS_1;
  huart5.Init.Parity = UART_PARITY_NONE;
  huart5.Init.Mode = UART_MODE_TX_RX;
  huart5.Init.HwFlowCtl = UART_HWCONTROL_NONE;
  huart5.Init.OverSampling = UART_OVERSAMPLING_16;
  huart5.Init.OneBitSampling = UART_ONE_BIT_SAMPLE_DISABLE;
  huart5.Init.ClockPrescaler = UART_PRESCALER_DIV1;
  huart5.AdvancedInit.AdvFeatureInit = UART_ADVFEATURE_NO_INIT;
  if (HAL_UART_Init(&huart5) != HAL_OK)
  {
    Error_Handler();
  }
  if (HAL_UARTEx_SetTxFifoThreshold(&huart5, UART_TXFIFO_THRESHOLD_1_8) != HAL_OK)
  {
    Error_Handler();
  }
  if (HAL_UARTEx_SetRxFifoThreshold(&huart5, UART_RXFIFO_THRESHOLD_1_8) != HAL_OK)
  {
    Error_Handler();
  }
  if (HAL_UARTEx_DisableFifoMode(&huart5) != HAL_OK)
  {
    Error_Handler();
  }

}

static void MX_GPIO_Init(void)
{
  GPIO_InitTypeDef GPIO_InitStruct = {0};

  /* GPIO Ports Clock Enable */
  __HAL_RCC_GPIOF_CLK_ENABLE();
  __HAL_RCC_GPIOG_CLK_ENABLE();
  __HAL_RCC_GPIOC_CLK_ENABLE();
  __HAL_RCC_GPIOA_CLK_ENABLE();
  __HAL_RCC_GPIOB_CLK_ENABLE();
  __HAL_RCC_GPIOD_CLK_ENABLE();

  /*Configure GPIO pin Output Level */
  HAL_GPIO_WritePin(TP1_GPIO_Port, TP1_Pin, GPIO_PIN_RESET);

  /*Configure GPIO pin Output Level */
  HAL_GPIO_WritePin(GPIOB, GPIO_PIN_2|GPIO_PIN_10|GPIO_PIN_11|GPIO_PIN_14
                          |GPIO_PIN_9, GPIO_PIN_RESET);

  /*Configure GPIO pin : PG10 */
  GPIO_InitStruct.Pin = GPIO_PIN_10;
  GPIO_InitStruct.Mode = GPIO_MODE_INPUT;
  GPIO_InitStruct.Pull = GPIO_NOPULL;
  HAL_GPIO_Init(GPIOG, &GPIO_InitStruct);

  /*Configure GPIO pin : TP1_Pin */
  GPIO_InitStruct.Pin = TP1_Pin;
  GPIO_InitStruct.Mode = GPIO_MODE_OUTPUT_PP;
  GPIO_InitStruct.Pull = GPIO_NOPULL;
  GPIO_InitStruct.Speed = GPIO_SPEED_FREQ_VERY_HIGH;
  HAL_GPIO_Init(TP1_GPIO_Port, &GPIO_InitStruct);

  /*Configure GPIO pins : PA5 PA6 PA7 */
  GPIO_InitStruct.Pin = GPIO_PIN_5|GPIO_PIN_6|GPIO_PIN_7;
  GPIO_InitStruct.Mode = GPIO_MODE_INPUT;
  GPIO_InitStruct.Pull = GPIO_NOPULL;
  HAL_GPIO_Init(GPIOA, &GPIO_InitStruct);

  /*Configure GPIO pins : PB2 PB10 PB11 PB14
                           PB9 */
  GPIO_InitStruct.Pin = GPIO_PIN_2|GPIO_PIN_10|GPIO_PIN_11|GPIO_PIN_14
                          |GPIO_PIN_9;
  GPIO_InitStruct.Mode = GPIO_MODE_OUTPUT_PP;
  GPIO_InitStruct.Pull = GPIO_NOPULL;
  GPIO_InitStruct.Speed = GPIO_SPEED_FREQ_LOW;
  HAL_GPIO_Init(GPIOB, &GPIO_InitStruct);

  /*Configure GPIO pins : SW2_Pin BOOT0_Pin */
  GPIO_InitStruct.Pin = SW2_Pin|BOOT0_Pin;
  GPIO_InitStruct.Mode = GPIO_MODE_INPUT;
  GPIO_InitStruct.Pull = GPIO_NOPULL;
  HAL_GPIO_Init(GPIOB, &GPIO_InitStruct);

}

void Error_Handler(void)
{
	__disable_irq();
	while (1)
	{
	}
}

/************************ (C) COPYRIGHT STMicroelectronics *****END OF FILE****/
